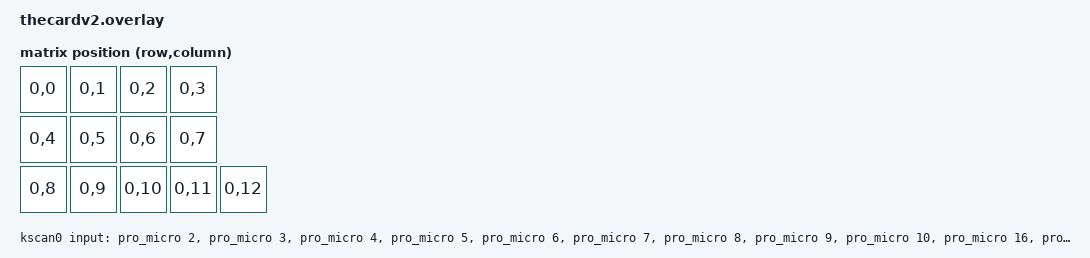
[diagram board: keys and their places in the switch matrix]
#include <dt-bindings/zmk/matrix_transform.h>
#include "thecardv2-layouts.dtsi"

/ {
    chosen {
        zmk,physical-layout = &thecardv2_layout;
        zmk,kscan = &kscan0;
    };

    thecardv2_transform: matrix_transform {
        compatible = "zmk,matrix-transform";
        rows = <1>;
        columns = <13>;
        map = <
            RC(0,0)  RC(0,1)  RC(0,2)  RC(0,3)
            RC(0,4)  RC(0,5)  RC(0,6)  RC(0,7)
            RC(0,8)  RC(0,9)  RC(0,10) RC(0,11) RC(0,12)
        >;
    };

    kscan0: kscan {
        compatible = "zmk,kscan-gpio-direct";
        label = "KSCAN";
        wakeup-source;

        /*
         * Position order, matching the current KiCad PCB:
         *
         *   0  1  2  3
         *   4  5  6  7
         *   8  9 10 11 12
         *
         * PCB nets by position:
         *   top:  P2,  P3,  P4,  P5
         *   home: P6,  P7,  P8,  P9
         *   mod:  P10, P16, P14, P15, P18
         *
         * Note: ergogen.yaml currently names the last row P10-P13, but the
         * checked-in PCB connects those positions to P10, P16, P14, P15, P18.
         */
        input-gpios = <
            &pro_micro 2  (GPIO_ACTIVE_LOW | GPIO_PULL_UP)
            &pro_micro 3  (GPIO_ACTIVE_LOW | GPIO_PULL_UP)
            &pro_micro 4  (GPIO_ACTIVE_LOW | GPIO_PULL_UP)
            &pro_micro 5  (GPIO_ACTIVE_LOW | GPIO_PULL_UP)
            &pro_micro 6  (GPIO_ACTIVE_LOW | GPIO_PULL_UP)
            &pro_micro 7  (GPIO_ACTIVE_LOW | GPIO_PULL_UP)
            &pro_micro 8  (GPIO_ACTIVE_LOW | GPIO_PULL_UP)
            &pro_micro 9  (GPIO_ACTIVE_LOW | GPIO_PULL_UP)
            &pro_micro 10 (GPIO_ACTIVE_LOW | GPIO_PULL_UP)
            &pro_micro 16 (GPIO_ACTIVE_LOW | GPIO_PULL_UP)
            &pro_micro 14 (GPIO_ACTIVE_LOW | GPIO_PULL_UP)
            &pro_micro 15 (GPIO_ACTIVE_LOW | GPIO_PULL_UP)
            &pro_micro 18 (GPIO_ACTIVE_LOW | GPIO_PULL_UP)
        >;
    };
};
